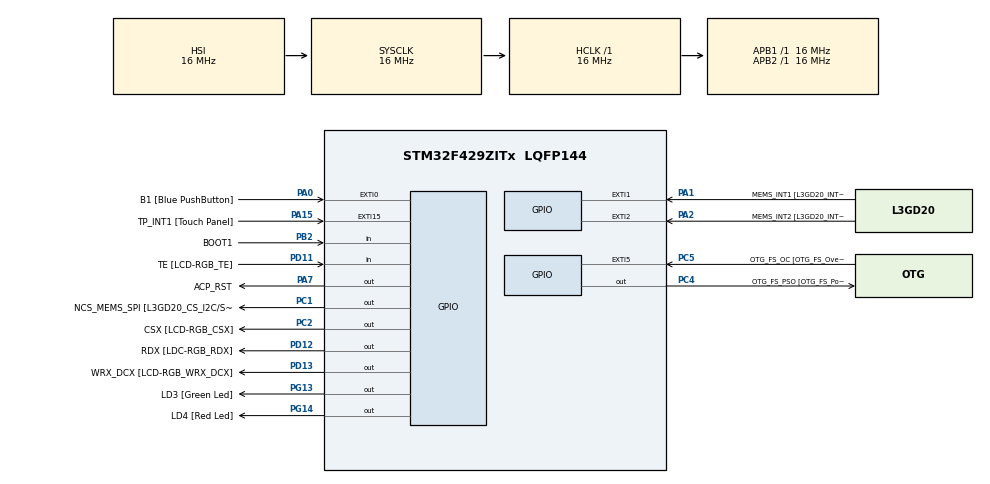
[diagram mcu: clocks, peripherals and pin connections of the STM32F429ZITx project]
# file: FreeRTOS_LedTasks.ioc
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Mcu.Family=STM32F4
Mcu.Name=STM32F429ZITx
Mcu.Package=LQFP144
NVIC.PriorityGroup=NVIC_PRIORITYGROUP_4
NVIC.TIM6_DAC_IRQn=true\:0\:0\:false\:false\:true\:false\:true\:true
NVIC.TimeBase=TIM6_DAC_IRQn
NVIC.TimeBaseIP=TIM6
PA0/WKUP.GPIO_Label=B1 [Blue PushButton]
PA0/WKUP.GPIO_ModeDefaultEXTI=GPIO_MODE_EVT_RISING
PA0/WKUP.GPIO_PuPd=GPIO_NOPULL
PA0/WKUP.Signal=GPXTI0
PA1.GPIO_Label=MEMS_INT1 [L3GD20_INT1]
PA1.GPIO_ModeDefaultEXTI=GPIO_MODE_EVT_RISING
PA1.GPIO_PuPd=GPIO_NOPULL
PA1.Signal=GPXTI1
PA10.GPIO_Label=STLINK_TX [STM32F103CBT6_PA2]
PA10.Signal=USART1_RX
PA11.GPIO_Label=R4
PA11.GPIO_Mode=GPIO_MODE_AF_PP
PA11.GPIO_PuPd=GPIO_NOPULL
PA11.GPIO_Speed=GPIO_SPEED_FREQ_LOW
PA11.Signal=LTDC_R4
PA12.GPIO_Label=R5
PA12.GPIO_Mode=GPIO_MODE_AF_PP
PA12.GPIO_PuPd=GPIO_NOPULL
PA12.GPIO_Speed=GPIO_SPEED_FREQ_LOW
PA12.Signal=LTDC_R5
PA13.GPIO_Label=SWDIO
PA13.Mode=Serial_Wire
PA13.Signal=SYS_JTMS-SWDIO
PA14.GPIO_Label=SWCLK
PA14.Mode=Serial_Wire
PA14.Signal=SYS_JTCK-SWCLK
PA15.GPIO_Label=TP_INT1 [Touch Panel]
PA15.GPIO_ModeDefaultEXTI=GPIO_MODE_EVT_RISING
PA15.GPIO_PuPd=GPIO_NOPULL
PA15.Signal=GPXTI15
PA2.GPIO_Label=MEMS_INT2 [L3GD20_INT2]
PA2.GPIO_ModeDefaultEXTI=GPIO_MODE_EVT_RISING
PA2.GPIO_PuPd=GPIO_NOPULL
PA2.Signal=GPXTI2
PA3.GPIO_Label=B5
PA3.GPIO_Mode=GPIO_MODE_AF_PP
PA3.GPIO_PuPd=GPIO_NOPULL
PA3.GPIO_Speed=GPIO_SPEED_FREQ_LOW
PA3.Signal=LTDC_B5
PA4.GPIO_Label=VSYNC
PA4.GPIO_Mode=GPIO_MODE_AF_PP
PA4.GPIO_PuPd=GPIO_NOPULL
PA4.GPIO_Speed=GPIO_SPEED_FREQ_LOW
PA4.Signal=LTDC_VSYNC
PA6.GPIO_Label=G2
PA6.GPIO_Mode=GPIO_MODE_AF_PP
PA6.GPIO_PuPd=GPIO_NOPULL
PA6.GPIO_Speed=GPIO_SPEED_FREQ_LOW
PA6.Signal=LTDC_G2
PA7.GPIO_Label=ACP_RST
PA7.GPIO_Mode=GPIO_MODE_OUTPUT_PP
PA7.GPIO_PuPd=GPIO_NOPULL
PA7.GPIO_Speed=GPIO_SPEED_FREQ_LOW
PA7.Signal=GPIO_Output
PA8.GPIO_Label=I2C3_SCL [ACP/RF_SCL]
PA8.GPIO_Mode=GPIO_MODE_AF_OD
PA8.GPIO_PuPd=GPIO_NOPULL
PA8.GPIO_Speed=GPIO_SPEED_FREQ_LOW
PA8.Signal=I2C3_SCL
PA9.GPIO_Label=STLINK_RX [STM32F103CBT6_PA3]
PA9.Signal=USART1_TX
PB0.GPIO_Label=R3
PB0.GPIO_Mode=GPIO_MODE_AF_PP
PB0.GPIO_PuPd=GPIO_NOPULL
PB0.GPIO_Speed=GPIO_SPEED_FREQ_LOW
PB0.Signal=LTDC_R3
PB1.GPIO_Label=R6
PB1.GPIO_Mode=GPIO_MODE_AF_PP
PB1.GPIO_PuPd=GPIO_NOPULL
PB1.GPIO_Speed=GPIO_SPEED_FREQ_LOW
PB1.Signal=LTDC_R6
PB10.GPIO_Label=G4
PB10.GPIO_Mode=GPIO_MODE_AF_PP
PB10.GPIO_PuPd=GPIO_NOPULL
PB10.GPIO_Speed=GPIO_SPEED_FREQ_LOW
PB10.Signal=LTDC_G4
PB11.GPIO_Label=G5
PB11.GPIO_Mode=GPIO_MODE_AF_PP
PB11.GPIO_PuPd=GPIO_NOPULL
PB11.GPIO_Speed=GPIO_SPEED_FREQ_LOW
PB11.Signal=LTDC_G5
PB12.GPIO_Label=OTG_HS_ID
PB12.GPIO_Mode=GPIO_MODE_AF_PP
PB12.GPIO_PuPd=GPIO_NOPULL
PB12.GPIO_Speed=GPIO_SPEED_FREQ_LOW
PB12.Signal=USB_OTG_HS_ID
PB13.GPIO_Label=VBUS_HS
PB13.GPIO_Mode=GPIO_MODE_INPUT
PB13.GPIO_PuPd=GPIO_NOPULL
PB13.Signal=USB_OTG_HS_VBUS
PB14.GPIO_Label=OTG_HS_DM
PB14.GPIO_Mode=GPIO_MODE_AF_PP
PB14.GPIO_PuPd=GPIO_NOPULL
PB14.GPIO_Speed=GPIO_SPEED_FREQ_LOW
PB14.Signal=USB_OTG_HS_DM
PB15.GPIO_Label=OTG_HS_DP
PB15.GPIO_Mode=GPIO_MODE_AF_PP
PB15.GPIO_PuPd=GPIO_NOPULL
PB15.GPIO_Speed=GPIO_SPEED_FREQ_LOW
PB15.Signal=USB_OTG_HS_DP
PB2/BOOT1.GPIO_Label=BOOT1
PB2/BOOT1.GPIO_Mode=GPIO_MODE_INPUT
PB2/BOOT1.GPIO_PuPd=GPIO_NOPULL
PB2/BOOT1.Signal=GPIO_Input
PB5.GPIO_Label=SDCKE1
PB5.GPIO_Mode=GPIO_MODE_AF_PP
PB5.GPIO_PuPd=GPIO_NOPULL
PB5.GPIO_Speed=GPIO_SPEED_FREQ_VERY_HIGH
PB5.Signal=FMC_SDCKE1
PB6.GPIO_Label=SDNE1 [SDRAM_CS]
PB6.GPIO_Mode=GPIO_MODE_AF_PP
PB6.GPIO_PuPd=GPIO_NOPULL
PB6.GPIO_Speed=GPIO_SPEED_FREQ_VERY_HIGH
PB6.Signal=FMC_SDNE1
PB8.GPIO_Label=B6
PB8.GPIO_Mode=GPIO_MODE_AF_PP
PB8.GPIO_PuPd=GPIO_NOPULL
PB8.GPIO_Speed=GPIO_SPEED_FREQ_LOW
PB8.Signal=LTDC_B6
PB9.GPIO_Label=B7
PB9.GPIO_Mode=GPIO_MODE_AF_PP
PB9.GPIO_PuPd=GPIO_NOPULL
PB9.GPIO_Speed=GPIO_SPEED_FREQ_LOW
PB9.Signal=LTDC_B7
PC0.GPIO_Label=SDNWE
PC0.GPIO_Mode=GPIO_MODE_AF_PP
PC0.GPIO_PuPd=GPIO_NOPULL
PC0.GPIO_Speed=GPIO_SPEED_FREQ_VERY_HIGH
PC0.Signal=FMC_SDNWE
PC1.GPIO_Label=NCS_MEMS_SPI [L3GD20_CS_I2C/SPI]
PC1.GPIO_Mode=GPIO_MODE_OUTPUT_PP
PC1.GPIO_PuPd=GPIO_NOPULL
PC1.GPIO_Speed=GPIO_SPEED_FREQ_LOW
PC1.Signal=GPIO_Output
PC10.GPIO_Label=R2
PC10.GPIO_Mode=GPIO_MODE_AF_PP
PC10.GPIO_PuPd=GPIO_NOPULL
PC10.GPIO_Speed=GPIO_SPEED_FREQ_LOW
PC10.Signal=LTDC_R2
PC14/OSC32_IN.GPIO_Label=PC14-OSC32_IN
PC14/OSC32_IN.Signal=RCC_OSC32_IN
PC15/OSC32_OUT.GPIO_Label=PC15-OSC32_OUT
PC15/OSC32_OUT.Signal=RCC_OSC32_OUT
PC2.GPIO_Label=CSX [LCD-RGB_CSX]
PC2.GPIO_Mode=GPIO_MODE_OUTPUT_PP
PC2.GPIO_PuPd=GPIO_NOPULL
PC2.GPIO_Speed=GPIO_SPEED_FREQ_LOW
PC2.Signal=GPIO_Output
PC4.GPIO_Label=OTG_FS_PSO [OTG_FS_PowerSwitchOn]
PC4.GPIO_Mode=GPIO_MODE_OUTPUT_PP
PC4.GPIO_PuPd=GPIO_NOPULL
PC4.GPIO_Speed=GPIO_SPEED_FREQ_LOW
PC4.Signal=GPIO_Output
PC5.GPIO_Label=OTG_FS_OC [OTG_FS_OverCurrent]
PC5.GPIO_ModeDefaultEXTI=GPIO_MODE_EVT_RISING
PC5.Signal=GPXTI5
PC6.GPIO_Label=HSYNC
PC6.GPIO_Mode=GPIO_MODE_AF_PP
PC6.GPIO_PuPd=GPIO_NOPULL
PC6.GPIO_Speed=GPIO_SPEED_FREQ_LOW
PC6.Signal=LTDC_HSYNC
PC7.GPIO_Label=G6
PC7.GPIO_Mode=GPIO_MODE_AF_PP
PC7.GPIO_PuPd=GPIO_NOPULL
PC7.GPIO_Speed=GPIO_SPEED_FREQ_LOW
PC7.Signal=LTDC_G6
PC9.GPIO_Label=I2C3_SDA [ACP/RF_SDA]
PC9.GPIO_Mode=GPIO_MODE_AF_OD
PC9.GPIO_PuPd=GPIO_NOPULL
PC9.GPIO_Speed=GPIO_SPEED_FREQ_LOW
PC9.Signal=I2C3_SDA
PD0.GPIO_Label=D2
PD0.GPIO_Mode=GPIO_MODE_AF_PP
PD0.GPIO_PuPd=GPIO_NOPULL
PD0.GPIO_Speed=GPIO_SPEED_FREQ_VERY_HIGH
PD0.Signal=FMC_D2_DA2
PD1.GPIO_Label=D3
PD1.GPIO_Mode=GPIO_MODE_AF_PP
PD1.GPIO_PuPd=GPIO_NOPULL
PD1.GPIO_Speed=GPIO_SPEED_FREQ_VERY_HIGH
PD1.Signal=FMC_D3_DA3
PD10.GPIO_Label=D15
PD10.GPIO_Mode=GPIO_MODE_AF_PP
PD10.GPIO_PuPd=GPIO_NOPULL
PD10.GPIO_Speed=GPIO_SPEED_FREQ_VERY_HIGH
PD10.Signal=FMC_D15_DA15
PD11.GPIO_Label=TE [LCD-RGB_TE]
PD11.GPIO_Mode=GPIO_MODE_INPUT
PD11.GPIO_PuPd=GPIO_NOPULL
PD11.Signal=GPIO_Input
PD12.GPIO_Label=RDX [LDC-RGB_RDX]
PD12.GPIO_Mode=GPIO_MODE_OUTPUT_PP
PD12.GPIO_PuPd=GPIO_NOPULL
PD12.GPIO_Speed=GPIO_SPEED_FREQ_LOW
PD12.Signal=GPIO_Output
PD13.GPIO_Label=WRX_DCX [LCD-RGB_WRX_DCX]
PD13.GPIO_Mode=GPIO_MODE_OUTPUT_PP
PD13.GPIO_PuPd=GPIO_NOPULL
PD13.GPIO_Speed=GPIO_SPEED_FREQ_LOW
PD13.Signal=GPIO_Output
PD14.GPIO_Label=D0
PD14.GPIO_Mode=GPIO_MODE_AF_PP
PD14.GPIO_PuPd=GPIO_NOPULL
PD14.GPIO_Speed=GPIO_SPEED_FREQ_VERY_HIGH
PD14.Signal=FMC_D0_DA0
PD15.GPIO_Label=D1
PD15.GPIO_Mode=GPIO_MODE_AF_PP
PD15.GPIO_PuPd=GPIO_NOPULL
PD15.GPIO_Speed=GPIO_SPEED_FREQ_VERY_HIGH
PD15.Signal=FMC_D1_DA1
PD3.GPIO_Label=G7
PD3.GPIO_Mode=GPIO_MODE_AF_PP
PD3.GPIO_PuPd=GPIO_NOPULL
PD3.GPIO_Speed=GPIO_SPEED_FREQ_LOW
PD3.Signal=LTDC_G7
PD6.GPIO_Label=B2
PD6.GPIO_Mode=GPIO_MODE_AF_PP
PD6.GPIO_PuPd=GPIO_NOPULL
PD6.GPIO_Speed=GPIO_SPEED_FREQ_LOW
PD6.Signal=LTDC_B2
PD8.GPIO_Label=D13
PD8.GPIO_Mode=GPIO_MODE_AF_PP
PD8.GPIO_PuPd=GPIO_NOPULL
PD8.GPIO_Speed=GPIO_SPEED_FREQ_VERY_HIGH
PD8.Signal=FMC_D13_DA13
PD9.GPIO_Label=D14
PD9.GPIO_Mode=GPIO_MODE_AF_PP
PD9.GPIO_PuPd=GPIO_NOPULL
PD9.GPIO_Speed=GPIO_SPEED_FREQ_VERY_HIGH
PD9.Signal=FMC_D14_DA14
PE0.GPIO_Label=NBL0 [SDRAM_LDQM]
PE0.GPIO_Mode=GPIO_MODE_AF_PP
PE0.GPIO_PuPd=GPIO_NOPULL
PE0.GPIO_Speed=GPIO_SPEED_FREQ_VERY_HIGH
PE0.Signal=FMC_NBL0
PE1.GPIO_Label=NBL1 [SDRAM_UDQM]
PE1.GPIO_Mode=GPIO_MODE_AF_PP
PE1.GPIO_PuPd=GPIO_NOPULL
PE1.GPIO_Speed=GPIO_SPEED_FREQ_VERY_HIGH
PE1.Signal=FMC_NBL1
PE10.GPIO_Label=D7
PE10.GPIO_Mode=GPIO_MODE_AF_PP
PE10.GPIO_PuPd=GPIO_NOPULL
PE10.GPIO_Speed=GPIO_SPEED_FREQ_VERY_HIGH
PE10.Signal=FMC_D7_DA7
PE11.GPIO_Label=D8
PE11.GPIO_Mode=GPIO_MODE_AF_PP
PE11.GPIO_PuPd=GPIO_NOPULL
PE11.GPIO_Speed=GPIO_SPEED_FREQ_VERY_HIGH
PE11.Signal=FMC_D8_DA8
PE12.GPIO_Label=D9
PE12.GPIO_Mode=GPIO_MODE_AF_PP
PE12.GPIO_PuPd=GPIO_NOPULL
PE12.GPIO_Speed=GPIO_SPEED_FREQ_VERY_HIGH
PE12.Signal=FMC_D9_DA9
PE13.GPIO_Label=D10
PE13.GPIO_Mode=GPIO_MODE_AF_PP
PE13.GPIO_PuPd=GPIO_NOPULL
PE13.GPIO_Speed=GPIO_SPEED_FREQ_VERY_HIGH
PE13.Signal=FMC_D10_DA10
PE14.GPIO_Label=D11
PE14.GPIO_Mode=GPIO_MODE_AF_PP
PE14.GPIO_PuPd=GPIO_NOPULL
PE14.GPIO_Speed=GPIO_SPEED_FREQ_VERY_HIGH
PE14.Signal=FMC_D11_DA11
PE15.GPIO_Label=D12
PE15.GPIO_Mode=GPIO_MODE_AF_PP
PE15.GPIO_PuPd=GPIO_NOPULL
PE15.GPIO_Speed=GPIO_SPEED_FREQ_VERY_HIGH
PE15.Signal=FMC_D12_DA12
PE7.GPIO_Label=D4
PE7.GPIO_Mode=GPIO_MODE_AF_PP
PE7.GPIO_PuPd=GPIO_NOPULL
PE7.GPIO_Speed=GPIO_SPEED_FREQ_VERY_HIGH
PE7.Signal=FMC_D4_DA4
PE8.GPIO_Label=D5
PE8.GPIO_Mode=GPIO_MODE_AF_PP
PE8.GPIO_PuPd=GPIO_NOPULL
PE8.GPIO_Speed=GPIO_SPEED_FREQ_VERY_HIGH
PE8.Signal=FMC_D5_DA5
PE9.GPIO_Label=D6
PE9.GPIO_Mode=GPIO_MODE_AF_PP
PE9.GPIO_PuPd=GPIO_NOPULL
PE9.GPIO_Speed=GPIO_SPEED_FREQ_VERY_HIGH
PE9.Signal=FMC_D6_DA6
PF0.GPIO_Label=A0
PF0.GPIO_Mode=GPIO_MODE_AF_PP
PF0.GPIO_PuPd=GPIO_NOPULL
PF0.GPIO_Speed=GPIO_SPEED_FREQ_VERY_HIGH
PF0.Signal=FMC_A0
PF1.GPIO_Label=A1
PF1.GPIO_Mode=GPIO_MODE_AF_PP
PF1.GPIO_PuPd=GPIO_NOPULL
PF1.GPIO_Speed=GPIO_SPEED_FREQ_VERY_HIGH
PF1.Signal=FMC_A1
PF10.GPIO_Label=ENABLE [LCD-RGB_ENABLE]
PF10.GPIO_Mode=GPIO_MODE_AF_PP
PF10.GPIO_PuPd=GPIO_NOPULL
PF10.GPIO_Speed=GPIO_SPEED_FREQ_LOW
PF10.Signal=LTDC_DE
PF11.GPIO_Label=SDNRAS
PF11.GPIO_Mode=GPIO_MODE_AF_PP
PF11.GPIO_PuPd=GPIO_NOPULL
PF11.GPIO_Speed=GPIO_SPEED_FREQ_VERY_HIGH
PF11.Signal=FMC_SDNRAS
PF12.GPIO_Label=A6
PF12.GPIO_Mode=GPIO_MODE_AF_PP
PF12.GPIO_PuPd=GPIO_NOPULL
PF12.GPIO_Speed=GPIO_SPEED_FREQ_VERY_HIGH
PF12.Signal=FMC_A6
PF13.GPIO_Label=A7
PF13.GPIO_Mode=GPIO_MODE_AF_PP
PF13.GPIO_PuPd=GPIO_NOPULL
PF13.GPIO_Speed=GPIO_SPEED_FREQ_VERY_HIGH
PF13.Signal=FMC_A7
PF14.GPIO_Label=A8
PF14.GPIO_Mode=GPIO_MODE_AF_PP
PF14.GPIO_PuPd=GPIO_NOPULL
PF14.GPIO_Speed=GPIO_SPEED_FREQ_VERY_HIGH
PF14.Signal=FMC_A8
PF15.GPIO_Label=A9
PF15.GPIO_Mode=GPIO_MODE_AF_PP
PF15.GPIO_PuPd=GPIO_NOPULL
PF15.GPIO_Speed=GPIO_SPEED_FREQ_VERY_HIGH
PF15.Signal=FMC_A9
PF2.GPIO_Label=A2
PF2.GPIO_Mode=GPIO_MODE_AF_PP
PF2.GPIO_PuPd=GPIO_NOPULL
PF2.GPIO_Speed=GPIO_SPEED_FREQ_VERY_HIGH
PF2.Signal=FMC_A2
PF3.GPIO_Label=A3
PF3.GPIO_Mode=GPIO_MODE_AF_PP
PF3.GPIO_PuPd=GPIO_NOPULL
PF3.GPIO_Speed=GPIO_SPEED_FREQ_VERY_HIGH
PF3.Signal=FMC_A3
PF4.GPIO_Label=A4
PF4.GPIO_Mode=GPIO_MODE_AF_PP
PF4.GPIO_PuPd=GPIO_NOPULL
PF4.GPIO_Speed=GPIO_SPEED_FREQ_VERY_HIGH
PF4.Signal=FMC_A4
PF5.GPIO_Label=A5
PF5.GPIO_Mode=GPIO_MODE_AF_PP
PF5.GPIO_PuPd=GPIO_NOPULL
PF5.GPIO_Speed=GPIO_SPEED_FREQ_VERY_HIGH
PF5.Signal=FMC_A5
PF7.GPIO_Label=SPI5_SCK [L3GD20_SCL/SPC]
PF7.GPIO_Mode=GPIO_MODE_AF_PP
PF7.GPIO_PuPd=GPIO_NOPULL
PF7.GPIO_Speed=GPIO_SPEED_FREQ_LOW
PF7.Signal=SPI5_SCK
PF8.GPIO_Label=SPI5_MISO [L3GD20_SDO]
PF8.GPIO_Mode=GPIO_MODE_AF_PP
PF8.GPIO_PuPd=GPIO_NOPULL
PF8.GPIO_Speed=GPIO_SPEED_FREQ_LOW
PF8.Signal=SPI5_MISO
PF9.GPIO_Label=SPI5_MOSI [L3GD20_SDA/SDI/SDO]
PF9.GPIO_Mode=GPIO_MODE_AF_PP
PF9.GPIO_PuPd=GPIO_NOPULL
PF9.GPIO_Speed=GPIO_SPEED_FREQ_LOW
PF9.Signal=SPI5_MOSI
PG0.GPIO_Label=A10
PG0.GPIO_Mode=GPIO_MODE_AF_PP
PG0.GPIO_PuPd=GPIO_NOPULL
PG0.GPIO_Speed=GPIO_SPEED_FREQ_VERY_HIGH
PG0.Signal=FMC_A10
PG1.GPIO_Label=A11
PG1.GPIO_Mode=GPIO_MODE_AF_PP
PG1.GPIO_PuPd=GPIO_NOPULL
PG1.GPIO_Speed=GPIO_SPEED_FREQ_VERY_HIGH
PG1.Signal=FMC_A11
PG10.GPIO_Label=G3
PG10.GPIO_Mode=GPIO_MODE_AF_PP
PG10.GPIO_PuPd=GPIO_NOPULL
PG10.GPIO_Speed=GPIO_SPEED_FREQ_LOW
PG10.Signal=LTDC_G3
PG11.GPIO_Label=B3
PG11.GPIO_Mode=GPIO_MODE_AF_PP
PG11.GPIO_PuPd=GPIO_NOPULL
PG11.GPIO_Speed=GPIO_SPEED_FREQ_LOW
PG11.Signal=LTDC_B3
PG12.GPIO_Label=B4
PG12.GPIO_Mode=GPIO_MODE_AF_PP
PG12.GPIO_PuPd=GPIO_NOPULL
PG12.GPIO_Speed=GPIO_SPEED_FREQ_LOW
PG12.Signal=LTDC_B4
PG13.GPIO_Label=LD3 [Green Led]
PG13.GPIO_Mode=GPIO_MODE_OUTPUT_PP
PG13.GPIO_PuPd=GPIO_NOPULL
PG13.GPIO_Speed=GPIO_SPEED_FREQ_LOW
PG13.Signal=GPIO_Output
PG14.GPIO_Label=LD4 [Red Led]
PG14.GPIO_Mode=GPIO_MODE_OUTPUT_PP
PG14.GPIO_PuPd=GPIO_NOPULL
PG14.GPIO_Speed=GPIO_SPEED_FREQ_LOW
PG14.Signal=GPIO_Output
PG15.GPIO_Label=SDNCAS
PG15.GPIO_Mode=GPIO_MODE_AF_PP
PG15.GPIO_PuPd=GPIO_NOPULL
PG15.GPIO_Speed=GPIO_SPEED_FREQ_VERY_HIGH
PG15.Signal=FMC_SDNCAS
PG4.GPIO_Label=BA0
PG4.GPIO_Mode=GPIO_MODE_AF_PP
PG4.GPIO_PuPd=GPIO_NOPULL
PG4.GPIO_Speed=GPIO_SPEED_FREQ_VERY_HIGH
PG4.Signal=FMC_A14_BA0
PG5.GPIO_Label=BA1
PG5.GPIO_Mode=GPIO_MODE_AF_PP
PG5.GPIO_PuPd=GPIO_NOPULL
PG5.GPIO_Speed=GPIO_SPEED_FREQ_VERY_HIGH
PG5.Signal=FMC_A15_BA1
PG6.GPIO_Label=R7
PG6.GPIO_Mode=GPIO_MODE_AF_PP
PG6.GPIO_PuPd=GPIO_NOPULL
PG6.GPIO_Speed=GPIO_SPEED_FREQ_LOW
PG6.Signal=LTDC_R7
PG7.GPIO_Label=DOTCLK [LCT-RGB_DOTCLK]
PG7.GPIO_Mode=GPIO_MODE_AF_PP
PG7.GPIO_PuPd=GPIO_NOPULL
PG7.GPIO_Speed=GPIO_SPEED_FREQ_LOW
PG7.Signal=LTDC_CLK
PG8.GPIO_Label=SDCLK
PG8.GPIO_Mode=GPIO_MODE_AF_PP
PG8.GPIO_PuPd=GPIO_NOPULL
PG8.GPIO_Speed=GPIO_SPEED_FREQ_VERY_HIGH
PG8.Signal=FMC_SDCLK
PH0/OSC_IN.GPIO_Label=PH0-OSC_IN
PH0/OSC_IN.Signal=RCC_OSC_IN
PH1/OSC_OUT.GPIO_Label=PH1-OSC_OUT
PH1/OSC_OUT.Signal=RCC_OSC_OUT
ProjectManager.HeapSize=0x200
ProjectManager.StackSize=0x400
ProjectManager.TargetToolchain=STM32CubeIDE
RCC.48MHZClocksFreq_Value=18285714.285714287
RCC.AHBFreq_Value=16000000
RCC.APB1Freq_Value=16000000
RCC.APB1TimFreq_Value=16000000
RCC.APB2Freq_Value=16000000
RCC.APB2TimFreq_Value=16000000
RCC.CortexFreq_Value=16000000
RCC.HCLKFreq_Value=16000000
RCC.HSE_VALUE=8000000
RCC.HSI_VALUE=16000000
RCC.LSE_VALUE=32768
RCC.PLLM=8
RCC.PLLN=64
RCC.PLLQ=7
RCC.SYSCLKFreq_VALUE=16000000
RCC.VCOOutputFreq_Value=128000000
SH.FMC_A0.0=FMC_A0
SH.FMC_A1.0=FMC_A1
SH.FMC_A10.0=FMC_A10
SH.FMC_A11.0=FMC_A11
SH.FMC_A14_BA0.0=FMC_BA0
SH.FMC_A15_BA1.0=FMC_BA1
SH.FMC_A2.0=FMC_A2
SH.FMC_A3.0=FMC_A3
SH.FMC_A4.0=FMC_A4
SH.FMC_A5.0=FMC_A5
SH.FMC_A6.0=FMC_A6
SH.FMC_A7.0=FMC_A7
SH.FMC_A8.0=FMC_A8
SH.FMC_A9.0=FMC_A9
SH.FMC_D0_DA0.0=FMC_D0
SH.FMC_D10_DA10.0=FMC_D10
SH.FMC_D11_DA11.0=FMC_D11
SH.FMC_D12_DA12.0=FMC_D12
SH.FMC_D13_DA13.0=FMC_D13
SH.FMC_D14_DA14.0=FMC_D14
SH.FMC_D15_DA15.0=FMC_D15
SH.FMC_D1_DA1.0=FMC_D1
SH.FMC_D2_DA2.0=FMC_D2
SH.FMC_D3_DA3.0=FMC_D3
SH.FMC_D4_DA4.0=FMC_D4
SH.FMC_D5_DA5.0=FMC_D5
SH.FMC_D6_DA6.0=FMC_D6
SH.FMC_D7_DA7.0=FMC_D7
SH.FMC_D8_DA8.0=FMC_D8
SH.FMC_D9_DA9.0=FMC_D9
SH.FMC_NBL0.0=FMC_NBL0
SH.FMC_NBL1.0=FMC_NBL1
SH.FMC_SDCLK.0=FMC_SDCLK
SH.FMC_SDNCAS.0=FMC_SDNCAS
SH.FMC_SDNRAS.0=FMC_SDNRAS
SH.FMC_SDNWE.0=FMC_SDNWE
VP_SYS_VS_tim6.Mode=TIM6
board=STM32F429I-DISC1

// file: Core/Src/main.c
/* USER CODE BEGIN Header */
/**
  ******************************************************************************
  * @file           : main.c
  * @brief          : Main program body
  ******************************************************************************
  * @attention
  *
  * Copyright (c) 2022 STMicroelectronics.
  * All rights reserved.
  *
  * This software is licensed under terms that can be found in the LICENSE file
  * in the root directory of this software component.
  * If no LICENSE file comes with this software, it is provided AS-IS.
  *
  ******************************************************************************
  */
/* USER CODE END Header */
#include "main.h"

/* USER CODE BEGIN Includes */
#include "FreeRTOS.h"
#include "task.h"
#include <stdio.h>
#include "SEGGER_SYSVIEW.h"
/* USER CODE END Includes */

/* USER CODE BEGIN PD */
#define DWT_CTRL            (*(volatile uint32_t*)0xE0001000u)
/* USER CODE END PD */

void SystemClock_Config(void);
static void MX_GPIO_Init(void);
/* USER CODE BEGIN PFP */
static void GreenLED_TaskHandler( void* parameter);
static void RedLED_TaskHandler( void* parameter );
/* USER CODE END PFP */

int main(void)
{
  /* USER CODE BEGIN 1 */
  TaskHandle_t green_led_task_handle, red_led_task_handle;
  BaseType_t status;
  /* USER CODE END 1 */

  /* MCU Configuration--------------------------------------------------------*/

  /* Reset of all peripherals, Initializes the Flash interface and the Systick. */
  HAL_Init();

  /* Configure the system clock */
  SystemClock_Config();

  /* Initialize all configured peripherals */
  MX_GPIO_Init();
  /* USER CODE BEGIN 2 */

  /* Enable the Cycle Counter i.e. CYCCNT */
  DWT_CTRL |= (0x01 << 0);

  /* SystemView should be configured and start before using any FreeRTOS API's */
  SEGGER_SYSVIEW_Conf();
  SEGGER_SYSVIEW_Start();

  /* Create Task-1*/
  status = xTaskCreate(GreenLED_TaskHandler, "Green LED", 200, NULL, 2, &green_led_task_handle);
  configASSERT(status == pdPASS);
  /* Create Task-2*/
  status = xTaskCreate(RedLED_TaskHandler, "Red LED", 200, NULL, 2, &red_led_task_handle );
  configASSERT(status == pdPASS);

  /* Start the Scheduler */
  vTaskStartScheduler();
  /* control shouldn't come here, if it is coming then there is some problem */
  /* this failure can happen due to insufficient memory in heap */

  /* USER CODE END 2 */

  /* Infinite loop */
  while (1)
  {

  }
}

void SystemClock_Config(void)
{
  RCC_OscInitTypeDef RCC_OscInitStruct = {0};
  RCC_ClkInitTypeDef RCC_ClkInitStruct = {0};

  /** Configure the main internal regulator output voltage
  */
  __HAL_RCC_PWR_CLK_ENABLE();
  __HAL_PWR_VOLTAGESCALING_CONFIG(PWR_REGULATOR_VOLTAGE_SCALE3);

  /** Initializes the RCC Oscillators according to the specified parameters
  * in the RCC_OscInitTypeDef structure.
  */
  RCC_OscInitStruct.OscillatorType = RCC_OSCILLATORTYPE_HSI;
  RCC_OscInitStruct.HSIState = RCC_HSI_ON;
  RCC_OscInitStruct.HSICalibrationValue = RCC_HSICALIBRATION_DEFAULT;
  RCC_OscInitStruct.PLL.PLLState = RCC_PLL_NONE;
  if (HAL_RCC_OscConfig(&RCC_OscInitStruct) != HAL_OK)
  {
    Error_Handler();
  }

  /** Initializes the CPU, AHB and APB buses clocks
  */
  RCC_ClkInitStruct.ClockType = RCC_CLOCKTYPE_HCLK|RCC_CLOCKTYPE_SYSCLK
                              |RCC_CLOCKTYPE_PCLK1|RCC_CLOCKTYPE_PCLK2;
  RCC_ClkInitStruct.SYSCLKSource = RCC_SYSCLKSOURCE_HSI;
  RCC_ClkInitStruct.AHBCLKDivider = RCC_SYSCLK_DIV1;
  RCC_ClkInitStruct.APB1CLKDivider = RCC_HCLK_DIV1;
  RCC_ClkInitStruct.APB2CLKDivider = RCC_HCLK_DIV1;

  if (HAL_RCC_ClockConfig(&RCC_ClkInitStruct, FLASH_LATENCY_0) != HAL_OK)
  {
    Error_Handler();
  }
}

static void MX_GPIO_Init(void)
{
  GPIO_InitTypeDef GPIO_InitStruct = {0};

  /* GPIO Ports Clock Enable */
  __HAL_RCC_GPIOC_CLK_ENABLE();
  __HAL_RCC_GPIOF_CLK_ENABLE();
  __HAL_RCC_GPIOH_CLK_ENABLE();
  __HAL_RCC_GPIOA_CLK_ENABLE();
  __HAL_RCC_GPIOB_CLK_ENABLE();
  __HAL_RCC_GPIOG_CLK_ENABLE();
  __HAL_RCC_GPIOE_CLK_ENABLE();
  __HAL_RCC_GPIOD_CLK_ENABLE();

  /*Configure GPIO pin Output Level */
  HAL_GPIO_WritePin(GPIOC, NCS_MEMS_SPI_Pin|CSX_Pin|OTG_FS_PSO_Pin, GPIO_PIN_RESET);

  /*Configure GPIO pin Output Level */
  HAL_GPIO_WritePin(ACP_RST_GPIO_Port, ACP_RST_Pin, GPIO_PIN_RESET);

  /*Configure GPIO pin Output Level */
  HAL_GPIO_WritePin(GPIOD, RDX_Pin|WRX_DCX_Pin, GPIO_PIN_RESET);

  /*Configure GPIO pin Output Level */
  HAL_GPIO_WritePin(GPIOG, LD3_Pin|LD4_Pin, GPIO_PIN_RESET);

  /*Configure GPIO pins : A0_Pin A1_Pin A2_Pin A3_Pin
                           A4_Pin A5_Pin SDNRAS_Pin A6_Pin
                           A7_Pin A8_Pin A9_Pin */
  GPIO_InitStruct.Pin = A0_Pin|A1_Pin|A2_Pin|A3_Pin
                          |A4_Pin|A5_Pin|SDNRAS_Pin|A6_Pin
                          |A7_Pin|A8_Pin|A9_Pin;
  GPIO_InitStruct.Mode = GPIO_MODE_AF_PP;
  GPIO_InitStruct.Pull = GPIO_NOPULL;
  GPIO_InitStruct.Speed = GPIO_SPEED_FREQ_VERY_HIGH;
  GPIO_InitStruct.Alternate = GPIO_AF12_FMC;
  HAL_GPIO_Init(GPIOF, &GPIO_InitStruct);

  /*Configure GPIO pins : SPI5_SCK_Pin SPI5_MISO_Pin SPI5_MOSI_Pin */
  GPIO_InitStruct.Pin = SPI5_SCK_Pin|SPI5_MISO_Pin|SPI5_MOSI_Pin;
  GPIO_InitStruct.Mode = GPIO_MODE_AF_PP;
  GPIO_InitStruct.Pull = GPIO_NOPULL;
  GPIO_InitStruct.Speed = GPIO_SPEED_FREQ_LOW;
  GPIO_InitStruct.Alternate = GPIO_AF5_SPI5;
  HAL_GPIO_Init(GPIOF, &GPIO_InitStruct);

  /*Configure GPIO pin : ENABLE_Pin */
  GPIO_InitStruct.Pin = ENABLE_Pin;
  GPIO_InitStruct.Mode = GPIO_MODE_AF_PP;
  GPIO_InitStruct.Pull = GPIO_NOPULL;
  GPIO_InitStruct.Speed = GPIO_SPEED_FREQ_LOW;
  GPIO_InitStruct.Alternate = GPIO_AF14_LTDC;
  HAL_GPIO_Init(ENABLE_GPIO_Port, &GPIO_InitStruct);

  /*Configure GPIO pin : SDNWE_Pin */
  GPIO_InitStruct.Pin = SDNWE_Pin;
  GPIO_InitStruct.Mode = GPIO_MODE_AF_PP;
  GPIO_InitStruct.Pull = GPIO_NOPULL;
  GPIO_InitStruct.Speed = GPIO_SPEED_FREQ_VERY_HIGH;
  GPIO_InitStruct.Alternate = GPIO_AF12_FMC;
  HAL_GPIO_Init(SDNWE_GPIO_Port, &GPIO_InitStruct);

  /*Configure GPIO pins : NCS_MEMS_SPI_Pin CSX_Pin OTG_FS_PSO_Pin */
  GPIO_InitStruct.Pin = NCS_MEMS_SPI_Pin|CSX_Pin|OTG_FS_PSO_Pin;
  GPIO_InitStruct.Mode = GPIO_MODE_OUTPUT_PP;
  GPIO_InitStruct.Pull = GPIO_NOPULL;
  GPIO_InitStruct.Speed = GPIO_SPEED_FREQ_LOW;
  HAL_GPIO_Init(GPIOC, &GPIO_InitStruct);

  /*Configure GPIO pins : B1_Pin MEMS_INT1_Pin MEMS_INT2_Pin TP_INT1_Pin */
  GPIO_InitStruct.Pin = B1_Pin|MEMS_INT1_Pin|MEMS_INT2_Pin|TP_INT1_Pin;
  GPIO_InitStruct.Mode = GPIO_MODE_EVT_RISING;
  GPIO_InitStruct.Pull = GPIO_NOPULL;
  HAL_GPIO_Init(GPIOA, &GPIO_InitStruct);

  /*Configure GPIO pins : B5_Pin VSYNC_Pin G2_Pin R4_Pin
                           R5_Pin */
  GPIO_InitStruct.Pin = B5_Pin|VSYNC_Pin|G2_Pin|R4_Pin
                          |R5_Pin;
  GPIO_InitStruct.Mode = GPIO_MODE_AF_PP;
  GPIO_InitStruct.Pull = GPIO_NOPULL;
  GPIO_InitStruct.Speed = GPIO_SPEED_FREQ_LOW;
  GPIO_InitStruct.Alternate = GPIO_AF14_LTDC;
  HAL_GPIO_Init(GPIOA, &GPIO_InitStruct);

  /*Configure GPIO pin : ACP_RST_Pin */
  GPIO_InitStruct.Pin = ACP_RST_Pin;
  GPIO_InitStruct.Mode = GPIO_MODE_OUTPUT_PP;
  GPIO_InitStruct.Pull = GPIO_NOPULL;
  GPIO_InitStruct.Speed = GPIO_SPEED_FREQ_LOW;
  HAL_GPIO_Init(ACP_RST_GPIO_Port, &GPIO_InitStruct);

  /*Configure GPIO pin : OTG_FS_OC_Pin */
  GPIO_InitStruct.Pin = OTG_FS_OC_Pin;
  GPIO_InitStruct.Mode = GPIO_MODE_EVT_RISING;
  GPIO_InitStruct.Pull = GPIO_NOPULL;
  HAL_GPIO_Init(OTG_FS_OC_GPIO_Port, &GPIO_InitStruct);

  /*Configure GPIO pins : R3_Pin R6_Pin */
  GPIO_InitStruct.Pin = R3_Pin|R6_Pin;
  GPIO_InitStruct.Mode = GPIO_MODE_AF_PP;
  GPIO_InitStruct.Pull = GPIO_NOPULL;
  GPIO_InitStruct.Speed = GPIO_SPEED_FREQ_LOW;
  GPIO_InitStruct.Alternate = GPIO_AF9_LTDC;
  HAL_GPIO_Init(GPIOB, &GPIO_InitStruct);

  /*Configure GPIO pin : BOOT1_Pin */
  GPIO_InitStruct.Pin = BOOT1_Pin;
  GPIO_InitStruct.Mode = GPIO_MODE_INPUT;
  GPIO_InitStruct.Pull = GPIO_NOPULL;
  HAL_GPIO_Init(BOOT1_GPIO_Port, &GPIO_InitStruct);

  /*Configure GPIO pins : A10_Pin A11_Pin BA0_Pin BA1_Pin
                           SDCLK_Pin SDNCAS_Pin */
  GPIO_InitStruct.Pin = A10_Pin|A11_Pin|BA0_Pin|BA1_Pin
                          |SDCLK_Pin|SDNCAS_Pin;
  GPIO_InitStruct.Mode = GPIO_MODE_AF_PP;
  GPIO_InitStruct.Pull = GPIO_NOPULL;
  GPIO_InitStruct.Speed = GPIO_SPEED_FREQ_VERY_HIGH;
  GPIO_InitStruct.Alternate = GPIO_AF12_FMC;
  HAL_GPIO_Init(GPIOG, &GPIO_InitStruct);

  /*Configure GPIO pins : D4_Pin D5_Pin D6_Pin D7_Pin
                           D8_Pin D9_Pin D10_Pin D11_Pin
                           D12_Pin NBL0_Pin NBL1_Pin */
  GPIO_InitStruct.Pin = D4_Pin|D5_Pin|D6_Pin|D7_Pin
                          |D8_Pin|D9_Pin|D10_Pin|D11_Pin
                          |D12_Pin|NBL0_Pin|NBL1_Pin;
  GPIO_InitStruct.Mode = GPIO_MODE_AF_PP;
  GPIO_InitStruct.Pull = GPIO_NOPULL;
  GPIO_InitStruct.Speed = GPIO_SPEED_FREQ_VERY_HIGH;
  GPIO_InitStruct.Alternate = GPIO_AF12_FMC;
  HAL_GPIO_Init(GPIOE, &GPIO_InitStruct);

  /*Configure GPIO pins : G4_Pin G5_Pin B6_Pin B7_Pin */
  GPIO_InitStruct.Pin = G4_Pin|G5_Pin|B6_Pin|B7_Pin;
  GPIO_InitStruct.Mode = GPIO_MODE_AF_PP;
  GPIO_InitStruct.Pull = GPIO_NOPULL;
  GPIO_InitStruct.Speed = GPIO_SPEED_FREQ_LOW;
  GPIO_InitStruct.Alternate = GPIO_AF14_LTDC;
  HAL_GPIO_Init(GPIOB, &GPIO_InitStruct);

  /*Configure GPIO pins : OTG_HS_ID_Pin OTG_HS_DM_Pin OTG_HS_DP_Pin */
  GPIO_InitStruct.Pin = OTG_HS_ID_Pin|OTG_HS_DM_Pin|OTG_HS_DP_Pin;
  GPIO_InitStruct.Mode = GPIO_MODE_AF_PP;
  GPIO_InitStruct.Pull = GPIO_NOPULL;
  GPIO_InitStruct.Speed = GPIO_SPEED_FREQ_LOW;
  GPIO_InitStruct.Alternate = GPIO_AF12_OTG_HS_FS;
  HAL_GPIO_Init(GPIOB, &GPIO_InitStruct);

  /*Configure GPIO pin : VBUS_HS_Pin */
  GPIO_InitStruct.Pin = VBUS_HS_Pin;
  GPIO_InitStruct.Mode = GPIO_MODE_INPUT;
  GPIO_InitStruct.Pull = GPIO_NOPULL;
  HAL_GPIO_Init(VBUS_HS_GPIO_Port, &GPIO_InitStruct);

  /*Configure GPIO pins : D13_Pin D14_Pin D15_Pin D0_Pin
                           D1_Pin D2_Pin D3_Pin */
  GPIO_InitStruct.Pin = D13_Pin|D14_Pin|D15_Pin|D0_Pin
                          |D1_Pin|D2_Pin|D3_Pin;
  GPIO_InitStruct.Mode = GPIO_MODE_AF_PP;
  GPIO_InitStruct.Pull = GPIO_NOPULL;
  GPIO_InitStruct.Speed = GPIO_SPEED_FREQ_VERY_HIGH;
  GPIO_InitStruct.Alternate = GPIO_AF12_FMC;
  HAL_GPIO_Init(GPIOD, &GPIO_InitStruct);

  /*Configure GPIO pin : TE_Pin */
  GPIO_InitStruct.Pin = TE_Pin;
  GPIO_InitStruct.Mode = GPIO_MODE_INPUT;
  GPIO_InitStruct.Pull = GPIO_NOPULL;
  HAL_GPIO_Init(TE_GPIO_Port, &GPIO_InitStruct);

  /*Configure GPIO pins : RDX_Pin WRX_DCX_Pin */
  GPIO_InitStruct.Pin = RDX_Pin|WRX_DCX_Pin;
  GPIO_InitStruct.Mode = GPIO_MODE_OUTPUT_PP;
  GPIO_InitStruct.Pull = GPIO_NOPULL;
  GPIO_InitStruct.Speed = GPIO_SPEED_FREQ_LOW;
  HAL_GPIO_Init(GPIOD, &GPIO_InitStruct);

  /*Configure GPIO pins : R7_Pin DOTCLK_Pin B3_Pin */
  GPIO_InitStruct.Pin = R7_Pin|DOTCLK_Pin|B3_Pin;
  GPIO_InitStruct.Mode = GPIO_MODE_AF_PP;
  GPIO_InitStruct.Pull = GPIO_NOPULL;
  GPIO_InitStruct.Speed = GPIO_SPEED_FREQ_LOW;
  GPIO_InitStruct.Alternate = GPIO_AF14_LTDC;
  HAL_GPIO_Init(GPIOG, &GPIO_InitStruct);

  /*Configure GPIO pins : HSYNC_Pin G6_Pin R2_Pin */
  GPIO_InitStruct.Pin = HSYNC_Pin|G6_Pin|R2_Pin;
  GPIO_InitStruct.Mode = GPIO_MODE_AF_PP;
  GPIO_InitStruct.Pull = GPIO_NOPULL;
  GPIO_InitStruct.Speed = GPIO_SPEED_FREQ_LOW;
  GPIO_InitStruct.Alternate = GPIO_AF14_LTDC;
  HAL_GPIO_Init(GPIOC, &GPIO_InitStruct);

  /*Configure GPIO pin : I2C3_SDA_Pin */
  GPIO_InitStruct.Pin = I2C3_SDA_Pin;
  GPIO_InitStruct.Mode = GPIO_MODE_AF_OD;
  GPIO_InitStruct.Pull = GPIO_NOPULL;
  GPIO_InitStruct.Speed = GPIO_SPEED_FREQ_LOW;
  GPIO_InitStruct.Alternate = GPIO_AF4_I2C3;
  HAL_GPIO_Init(I2C3_SDA_GPIO_Port, &GPIO_InitStruct);

  /*Configure GPIO pin : I2C3_SCL_Pin */
  GPIO_InitStruct.Pin = I2C3_SCL_Pin;
  GPIO_InitStruct.Mode = GPIO_MODE_AF_OD;
  GPIO_InitStruct.Pull = GPIO_NOPULL;
  GPIO_InitStruct.Speed = GPIO_SPEED_FREQ_LOW;
  GPIO_InitStruct.Alternate = GPIO_AF4_I2C3;
  HAL_GPIO_Init(I2C3_SCL_GPIO_Port, &GPIO_InitStruct);

  /*Configure GPIO pins : STLINK_RX_Pin STLINK_TX_Pin */
  GPIO_InitStruct.Pin = STLINK_RX_Pin|STLINK_TX_Pin;
  GPIO_InitStruct.Mode = GPIO_MODE_AF_PP;
  GPIO_InitStruct.Pull = GPIO_NOPULL;
  GPIO_InitStruct.Speed = GPIO_SPEED_FREQ_VERY_HIGH;
  GPIO_InitStruct.Alternate = GPIO_AF7_USART1;
  HAL_GPIO_Init(GPIOA, &GPIO_InitStruct);

  /*Configure GPIO pins : G7_Pin B2_Pin */
  GPIO_InitStruct.Pin = G7_Pin|B2_Pin;
  GPIO_InitStruct.Mode = GPIO_MODE_AF_PP;
  GPIO_InitStruct.Pull = GPIO_NOPULL;
  GPIO_InitStruct.Speed = GPIO_SPEED_FREQ_LOW;
  GPIO_InitStruct.Alternate = GPIO_AF14_LTDC;
  HAL_GPIO_Init(GPIOD, &GPIO_InitStruct);

  /*Configure GPIO pins : G3_Pin B4_Pin */
  GPIO_InitStruct.Pin = G3_Pin|B4_Pin;
  GPIO_InitStruct.Mode = GPIO_MODE_AF_PP;
  GPIO_InitStruct.Pull = GPIO_NOPULL;
  GPIO_InitStruct.Speed = GPIO_SPEED_FREQ_LOW;
  GPIO_InitStruct.Alternate = GPIO_AF9_LTDC;
  HAL_GPIO_Init(GPIOG, &GPIO_InitStruct);

  /*Configure GPIO pins : LD3_Pin LD4_Pin */
  GPIO_InitStruct.Pin = LD3_Pin|LD4_Pin;
  GPIO_InitStruct.Mode = GPIO_MODE_OUTPUT_PP;
  GPIO_InitStruct.Pull = GPIO_NOPULL;
  GPIO_InitStruct.Speed = GPIO_SPEED_FREQ_LOW;
  HAL_GPIO_Init(GPIOG, &GPIO_InitStruct);

  /*Configure GPIO pins : SDCKE1_Pin SDNE1_Pin */
  GPIO_InitStruct.Pin = SDCKE1_Pin|SDNE1_Pin;
  GPIO_InitStruct.Mode = GPIO_MODE_AF_PP;
  GPIO_InitStruct.Pull = GPIO_NOPULL;
  GPIO_InitStruct.Speed = GPIO_SPEED_FREQ_VERY_HIGH;
  GPIO_InitStruct.Alternate = GPIO_AF12_FMC;
  HAL_GPIO_Init(GPIOB, &GPIO_InitStruct);

}

/* USER CODE BEGIN 4 */
static void GreenLED_TaskHandler( void* parameter)
{
  TickType_t last_wake_time;
  /* Initialize the variable with the current time */
  last_wake_time = xTaskGetTickCount();
  while( 1 )
  {
    SEGGER_SYSVIEW_PrintfTarget("Green LED Task\n");
    /* Toggle On Board Green Led */
    HAL_GPIO_TogglePin(LD3_GPIO_Port, LD3_Pin);
    vTaskDelayUntil( &last_wake_time, pdMS_TO_TICKS(1000) );
  }
}
static void RedLED_TaskHandler( void* parameter )
{
  TickType_t last_wake_time;
  /* Initialize the variable with the current time */
  last_wake_time = xTaskGetTickCount();
  while ( 1 )
  {
    SEGGER_SYSVIEW_PrintfTarget("Red LED Task\n");
    /* Toggle On Board RED Led */
    HAL_GPIO_TogglePin(LD4_GPIO_Port, LD4_Pin);
    vTaskDelayUntil( &last_wake_time, pdMS_TO_TICKS(500) );
  }
}
/* USER CODE END 4 */

void HAL_TIM_PeriodElapsedCallback(TIM_HandleTypeDef *htim)
{
  if (htim->Instance == TIM6) {
    HAL_IncTick();
  }
}

void Error_Handler(void)
{
  __disable_irq();
  while (1)
  {
  }
}
